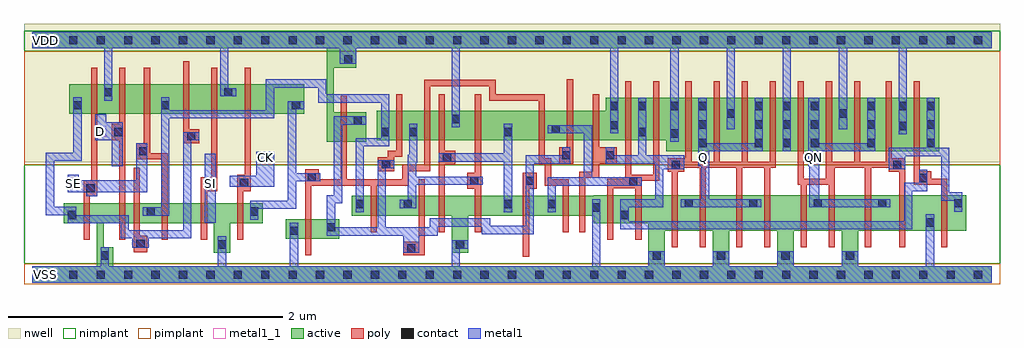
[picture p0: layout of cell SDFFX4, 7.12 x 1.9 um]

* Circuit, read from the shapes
.subckt SDFFX4 CK D Q QN SE SI VDD VSS
M1 VSS SE n1 VSS nfet w=0.145u l=0.045u
M2 n2 D VSS VSS nfet w=0.145u l=0.045u
M3 n3 n1 n2 VSS nfet w=0.145u l=0.045u
M4 n4 SE n3 VSS nfet w=0.145u l=0.045u
M5 VSS SI n4 VSS nfet w=0.145u l=0.045u
M6 n5 CK VSS VSS nfet w=0.145u l=0.045u
M7 n6 n5 VSS VSS nfet w=0.145u l=0.045u
M8 n7 n5 n3 VSS nfet w=0.145u l=0.045u
M9 n8 n6 n7 VSS nfet w=0.145u l=0.045u
M10 VSS n9 n8 VSS nfet w=0.145u l=0.045u
M11 n9 n7 VSS VSS nfet w=0.145u l=0.045u
M12 n10 n6 n9 VSS nfet w=0.145u l=0.045u
M13 n11 n5 n10 VSS nfet w=0.145u l=0.045u
M14 VSS n12 n11 VSS nfet w=0.145u l=0.045u
M15 n12 n10 VSS VSS nfet w=0.205u l=0.045u m=2
M16 Q n12 VSS VSS nfet w=0.26u l=0.045u m=4
M17 QN n13 VSS VSS nfet w=0.26u l=0.045u m=4
M18 n13 n12 VSS VSS nfet w=0.26u l=0.045u
M19 VDD SE n1 VDD pfet w=0.215u l=0.045u
M20 n14 D VDD VDD pfet w=0.215u l=0.045u
M21 n3 SE n14 VDD pfet w=0.215u l=0.045u
M22 n15 n1 n3 VDD pfet w=0.215u l=0.045u
M23 VDD SI n15 VDD pfet w=0.215u l=0.045u
M24 n5 CK VDD VDD pfet w=0.215u l=0.045u
M25 n6 n5 VDD VDD pfet w=0.215u l=0.045u
M26 n7 n6 n3 VDD pfet w=0.215u l=0.045u
M27 n16 n5 n7 VDD pfet w=0.215u l=0.045u
M28 VDD n9 n16 VDD pfet w=0.215u l=0.045u
M29 n9 n7 VDD VDD pfet w=0.215u l=0.045u
M30 n10 n5 n9 VDD pfet w=0.215u l=0.045u
M31 n17 n6 n10 VDD pfet w=0.215u l=0.045u
M32 VDD n12 n17 VDD pfet w=0.215u l=0.045u
M33 n12 n10 VDD VDD pfet w=0.31u l=0.045u m=2
M34 Q n12 VDD VDD pfet w=0.39u l=0.045u m=4
M35 QN n13 VDD VDD pfet w=0.39u l=0.045u m=4
M36 n13 n12 VDD VDD pfet w=0.39u l=0.045u
.ends

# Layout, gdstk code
import gdstk
lib = gdstk.Library(unit=1e-6, precision=5e-10)
def R(c, l, rs):  # rectangles x0, y0, x1, y1
    for r in rs: c.add(gdstk.rectangle(r[:2], r[2:], *l))
def A(c, l, x, y, w, h, nx, ny, dx, dy):  # array of equal rectangles
    R(c, l, [(x+i*dx, y+j*dy, x+i*dx+w, y+j*dy+h) for i in range(nx) for j in range(ny)])
def P(c, l, *ps):  # polygons
    for p in ps: c.add(gdstk.Polygon(p, *l))
active = (1, 0)
nwell = (2, 0)
poly = (3, 0)
nimplant = (4, 0)
pimplant = (5, 0)
contact = (6, 0)
metal1 = (7, 0)
metal1_1 = (7, 1)

sdffx4 = lib.new_cell('SDFFX4')
R(sdffx4, active, [(1.85,0.26,2.24,0.405), (0.27,1.175,1.985,1.39)])
P(sdffx4, active, [(0,1.77),(7,1.77),(7,1.65),(2.365,1.65),(2.365,1.51),(2.2,1.51),(2.2,1.185),(2.435,1.185),(2.435,0.97),(2.15,0.97),(2.15,1.65),(0,1.65)],
  [(4.185,1.29),(6.615,1.29),(6.615,0.9),(4.625,0.9),(4.625,0.98),(2.515,0.98),(2.515,1.195),(4.185,1.195)],
  [(4.095,0.58),(6.815,0.58),(6.815,0.32),(6.025,0.32),(6.025,0.06),(7,0.06),(7,-0.06),(0,-0.06),(0,0.06),(0.47,0.06),(0.47,0.375),(0.23,0.375),(0.23,0.52),(1.68,0.52),(1.68,0.375),(1.445,0.375),(1.445,0.16),(1.325,0.16),(1.325,0.375),(0.52,0.375),(0.52,0.2),(0.59,0.2),(0.59,0.06),(4.495,0.06),(4.495,0.32),(4.615,0.32),(4.615,0.06),(4.965,0.06),(4.965,0.32),(5.085,0.32),(5.085,0.06),(5.435,0.06),(5.435,0.32),(5.555,0.32),(5.555,0.06),(5.905,0.06),(5.905,0.32),(4.495,0.32),(4.495,0.375),(4.095,0.375),(4.095,0.43),(3.18,0.43),(3.18,0.16),(3.06,0.16),(3.06,0.43),(2.33,0.43),(2.33,0.575),(4.095,0.575)])
R(sdffx4, nwell, [(-0.06,0.82,7.06,1.83)])
P(sdffx4, poly, [(0.43,1.51),(0.475,1.51),(0.475,0.57),(0.42,0.57),(0.42,0.255),(0.375,0.255),(0.375,0.69),(0.43,0.69)],
  [(0.635,1.51),(0.68,1.51),(0.68,0.255),(0.635,0.255),(0.635,0.98),(0.58,0.98),(0.58,1.1),(0.635,1.1)],
  [(0.815,1.51),(0.86,1.51),(0.86,0.885),(0.99,0.885),(0.99,0.255),(0.945,0.255),(0.945,0.84),(0.76,0.84),(0.76,0.96),(0.815,0.96)],
  [(1.1,1.555),(1.145,1.555),(1.145,1.06),(1.22,1.06),(1.22,0.96),(1.1,0.96)],
  [(1.305,1.51),(1.35,1.51),(1.35,0.61),(1.275,0.61),(1.275,0.255),(1.23,0.255),(1.23,0.71),(1.305,0.71)],
  [(1.55,1.51),(1.595,1.51),(1.595,0.61),(1.54,0.61),(1.54,0.255),(1.495,0.255),(1.495,0.73),(1.55,0.73)],
  [(2.86,1.42),(3.38,1.42),(3.38,1.315),(3.74,1.315),(3.74,0.85),(3.785,0.85),(3.785,0.695),(3.915,0.695),(3.915,0.31),(3.87,0.31),(3.87,0.65),(3.74,0.65),(3.74,0.805),(3.695,0.805),(3.695,1.27),(3.335,1.27),(3.335,1.375),(2.905,1.375),(2.905,0.755),(2.745,0.755),(2.745,0.65),(2.515,0.65),(2.515,0.31),(2.47,0.31),(2.47,0.65),(2.035,0.65),(2.035,0.14),(1.99,0.14),(1.99,0.77),(2.09,0.77),(2.09,0.695),(2.25,0.695),(2.25,1.305),(2.295,1.305),(2.295,0.695),(2.7,0.695),(2.7,0.8),(2.86,0.8)],
  [(2.655,1.315),(2.7,1.315),(2.7,0.86),(2.64,0.86),(2.64,0.755),(2.52,0.755),(2.52,0.855),(2.595,0.855),(2.595,0.905),(2.655,0.905)],
  [(2.965,1.315),(3.01,1.315),(3.01,0.905),(3.085,0.905),(3.085,0.805),(3.01,0.805),(3.01,0.31),(2.965,0.31)],
  [(3.23,1.315),(3.275,1.315),(3.275,0.31),(3.23,0.31),(3.23,0.625),(3.175,0.625),(3.175,0.745),(3.23,0.745)],
  [(3.9,1.425),(3.945,1.425),(3.945,0.81),(3.845,0.81),(3.845,0.93),(3.9,0.93)],
  [(4.09,1.315),(4.135,1.315),(4.135,0.93),(4.265,0.93),(4.265,0.81),(4.135,0.81),(4.135,0.705),(4.035,0.705),(4.035,0.31),(3.99,0.31),(3.99,0.75),(4.09,0.75)],
  [(4.325,1.41),(4.37,1.41),(4.37,0.73),(4.53,0.73),(4.53,1.41),(4.575,1.41),(4.575,0.685),(4.445,0.685),(4.445,0.255),(4.4,0.255),(4.4,0.63),(4.24,0.63),(4.24,0.255),(4.195,0.255),(4.195,0.7),(4.325,0.7)],
  [(4.765,1.41),(4.81,1.41),(4.81,0.825),(4.97,0.825),(4.97,1.41),(5.015,1.41),(5.015,0.825),(5.175,0.825),(5.175,1.41),(5.22,1.41),(5.22,0.825),(5.38,0.825),(5.38,1.41),(5.425,1.41),(5.425,0.78),(5.385,0.78),(5.385,0.2),(5.34,0.2),(5.34,0.78),(5.18,0.78),(5.18,0.2),(5.135,0.2),(5.135,0.78),(4.915,0.78),(4.915,0.2),(4.87,0.2),(4.87,0.78),(4.755,0.78),(4.755,0.75),(4.71,0.75),(4.71,0.2),(4.665,0.2),(4.665,0.75),(4.635,0.75),(4.635,0.85),(4.765,0.85)],
  [(5.585,1.41),(5.63,1.41),(5.63,0.7),(5.79,0.7),(5.79,1.41),(5.835,1.41),(5.835,0.825),(5.995,0.825),(5.995,1.41),(6.04,1.41),(6.04,0.825),(6.225,0.825),(6.225,1.41),(6.27,1.41),(6.27,0.85),(6.37,0.85),(6.37,0.2),(6.325,0.2),(6.325,0.75),(6.25,0.75),(6.25,0.78),(6.12,0.78),(6.12,0.2),(6.075,0.2),(6.075,0.78),(5.855,0.78),(5.855,0.2),(5.81,0.2),(5.81,0.655),(5.65,0.655),(5.65,0.2),(5.605,0.2),(5.605,0.655),(5.585,0.655)],
  [(6.43,1.41),(6.475,1.41),(6.475,0.755),(6.56,0.755),(6.56,0.7),(6.675,0.7),(6.675,0.2),(6.63,0.2),(6.63,0.655),(6.43,0.655)],
  [(3.58,0.745),(3.68,0.745),(3.68,0.625),(3.625,0.625),(3.625,0.13),(3.58,0.13)],
  [(0.74,0.78),(0.785,0.78),(0.785,0.285),(0.84,0.285),(0.84,0.165),(0.74,0.165)],
  [(2.82,0.695),(2.865,0.695),(2.865,0.14),(2.705,0.14),(2.705,0.24),(2.82,0.24)])
R(sdffx4, nimplant, [(-0.06,0.08,7.06,0.8), (-0.06,1.63,7.06,1.78)])
R(sdffx4, pimplant, [(-0.06,-0.07,7.06,0.08), (-0.06,0.8,7.06,1.63)])
A(sdffx4, contact, 0.07, -0.03, 0.06, 0.06, 35, 2, 0.2, 1.71)
A(sdffx4, contact, 4.525, 0.11, 0.06, 0.06, 4, 1, 0.47, 0)
A(sdffx4, contact, 4.76, 0.49, 0.06, 0.06, 4, 1, 0.47, 0)
A(sdffx4, contact, 4.86, 0.93, 0.06, 0.06, 1, 3, 0, 0.135)
A(sdffx4, contact, 5.27, 0.93, 0.06, 0.06, 3, 3, 0.205, 0.135)
A(sdffx4, contact, 6.09, 0.93, 0.06, 0.06, 1, 3, 0, 0.135)
A(sdffx4, contact, 6.525, 0.93, 0.06, 0.06, 1, 3, 0, 0.135)
R(sdffx4, contact, [(0.5,0.11,0.56,0.17), (2.735,0.16,2.795,0.22), (1.355,0.19,1.415,0.25), (3.09,0.19,3.15,0.25), (0.76,0.195,0.82,0.255), (1.88,0.29,1.94,0.35), (2.15,0.315,2.21,0.375), (6.52,0.35,6.58,0.41), (0.26,0.405,0.32,0.465), (4.29,0.405,4.35,0.465), (0.835,0.43,0.895,0.49), (1.59,0.43,1.65,0.49), (4.085,0.46,4.145,0.52), (2.36,0.485,2.42,0.545), (2.71,0.485,2.77,0.545), (3.44,0.485,3.5,0.545), (3.76,0.485,3.82,0.545), (6.725,0.49,6.785,0.55), (0.395,0.6,0.455,0.66), (1.26,0.63,1.32,0.69), (1.515,0.64,1.575,0.7), (4.355,0.65,4.415,0.71), (3.195,0.655,3.255,0.715), (3.6,0.655,3.66,0.715), (6.47,0.675,6.53,0.735), (2.01,0.68,2.07,0.74), (4.665,0.77,4.725,0.83), (6.28,0.77,6.34,0.83), (2.55,0.775,2.61,0.835), (2.995,0.825,3.055,0.885), (3.865,0.84,3.925,0.9), (4.185,0.84,4.245,0.9), (0.78,0.87,0.84,0.93), (1.13,0.98,1.19,1.04), (4.655,1,4.715,1.06), (0.6,1.01,0.66,1.07), (2.545,1.01,2.605,1.07), (2.75,1.01,2.81,1.07), (3.44,1.01,3.5,1.07), (4.42,1.01,4.48,1.07), (3.79,1.03,3.85,1.09), (6.32,1.055,6.38,1.115), (4.215,1.06,4.275,1.12), (2.345,1.095,2.405,1.155), (3.06,1.105,3.12,1.165), (5.065,1.145,5.125,1.205), (5.885,1.145,5.945,1.205), (4.215,1.2,4.275,1.26), (4.42,1.2,4.48,1.26), (4.655,1.2,4.715,1.26), (6.32,1.2,6.38,1.26), (0.3,1.205,0.36,1.265), (0.94,1.205,1,1.265), (1.895,1.205,1.955,1.265), (0.525,1.3,0.585,1.36), (1.4,1.3,1.46,1.36), (2.275,1.54,2.335,1.6)])
R(sdffx4, metal1, [(1.26,0.38,1.34,0.88)])
P(sdffx4, metal1, [(0,1.77),(7,1.77),(7,1.65),(6.38,1.65),(6.38,1.025),(6.32,1.025),(6.32,1.65),(5.945,1.65),(5.945,1.06),(5.885,1.06),(5.885,1.65),(5.535,1.65),(5.535,0.9),(5.475,0.9),(5.475,1.65),(5.125,1.65),(5.125,1.06),(5.065,1.06),(5.065,1.65),(4.715,1.65),(4.715,0.97),(4.655,0.97),(4.655,1.65),(4.275,1.65),(4.275,1.03),(4.215,1.03),(4.215,1.65),(3.12,1.65),(3.12,1.075),(3.06,1.075),(3.06,1.65),(2.365,1.65),(2.365,1.54),(2.245,1.54),(2.245,1.65),(1.43,1.65),(1.43,1.36),(1.49,1.36),(1.49,1.3),(1.37,1.3),(1.37,1.65),(0.585,1.65),(0.585,1.27),(0.525,1.27),(0.525,1.65),(0,1.65)],
  [(0.3,1.295),(0.36,1.295),(0.36,0.83),(0.16,0.83),(0.16,0.495),(0.32,0.495),(0.32,0.435),(0.705,0.435),(0.705,0.325),(1.1,0.325),(1.1,1.04),(1.22,1.04),(1.22,0.98),(1.16,0.98),(1.16,0.265),(0.85,0.265),(0.85,0.195),(0.73,0.195),(0.73,0.265),(0.645,0.265),(0.645,0.375),(0.26,0.375),(0.26,0.435),(0.1,0.435),(0.1,0.89),(0.3,0.89)],
  [(1.705,1.425),(2.145,1.425),(2.145,1.315),(2.605,1.315),(2.605,0.935),(2.42,0.935),(2.42,0.455),(2.36,0.455),(2.36,0.995),(2.545,0.995),(2.545,1.255),(2.085,1.255),(2.085,1.365),(1.765,1.365),(1.765,1.14),(1,1.14),(1,0.43),(0.805,0.43),(0.805,0.49),(0.94,0.49),(0.94,1.295),(1,1.295),(1,1.2),(1.705,1.2)],
  [(1.865,1.265),(1.985,1.265),(1.985,1.205),(1.925,1.205),(1.925,0.74),(2.1,0.74),(2.1,0.68),(1.925,0.68),(1.925,0.48),(1.65,0.48),(1.65,0.4),(1.59,0.4),(1.59,0.54),(1.865,0.54)],
  [(0.46,1.17),(0.54,1.17),(0.54,1.11),(0.66,1.11),(0.66,0.79),(0.58,0.79),(0.58,0.98),(0.46,0.98)],
  [(0.26,0.73),(0.34,0.73),(0.34,0.69),(0.76,0.69),(0.76,0.96),(0.84,0.96),(0.84,0.6),(0.475,0.6),(0.475,0.57),(0.395,0.57),(0.395,0.6),(0.26,0.6)],
  [(1.635,0.895),(1.765,0.895),(1.765,0.64),(1.44,0.64),(1.44,0.72),(1.635,0.72)],
  [(2.2,1.155),(2.435,1.155),(2.435,1.095),(2.26,1.095),(2.26,0.52),(2.21,0.52),(2.21,0.345),(2.52,0.345),(2.52,0.835),(2.64,0.835),(2.64,0.775),(2.58,0.775),(2.58,0.345),(2.9,0.345),(2.9,0.41),(3.34,0.41),(3.34,0.355),(3.6,0.355),(3.6,0.87),(3.865,0.87),(3.865,0.93),(3.925,0.93),(3.925,0.81),(3.66,0.81),(3.66,0.295),(3.28,0.295),(3.28,0.35),(2.96,0.35),(2.96,0.285),(2.825,0.285),(2.825,0.16),(2.705,0.16),(2.705,0.285),(2.15,0.285),(2.15,0.58),(2.2,0.58)],
  [(0.5,0.2),(0.56,0.2),(0.56,0.06),(1.355,0.06),(1.355,0.28),(1.415,0.28),(1.415,0.06),(1.88,0.06),(1.88,0.38),(1.94,0.38),(1.94,0.06),(3.06,0.06),(3.06,0.25),(3.18,0.25),(3.18,0.19),(3.12,0.19),(3.12,0.06),(4.085,0.06),(4.085,0.55),(4.145,0.55),(4.145,0.06),(4.495,0.06),(4.495,0.17),(4.615,0.17),(4.615,0.06),(4.965,0.06),(4.965,0.17),(5.085,0.17),(5.085,0.06),(5.435,0.06),(5.435,0.17),(5.555,0.17),(5.555,0.06),(5.905,0.06),(5.905,0.17),(6.025,0.17),(6.025,0.06),(6.52,0.06),(6.52,0.44),(6.58,0.44),(6.58,0.06),(7,0.06),(7,-0.06),(0,-0.06),(0,0.06),(0.5,0.06)],
  [(2.75,1.1),(2.81,1.1),(2.81,0.815),(2.8,0.815),(2.8,0.715),(3.285,0.715),(3.285,0.655),(2.8,0.655),(2.8,0.485),(2.68,0.485),(2.68,0.545),(2.74,0.545),(2.74,0.875),(2.75,0.875)],
  [(3.44,1.1),(3.5,1.1),(3.5,0.455),(3.44,0.455),(3.44,0.825),(2.965,0.825),(2.965,0.885),(3.44,0.885)],
  [(3.76,1.09),(4.085,1.09),(4.085,0.71),(4.445,0.71),(4.445,0.65),(3.82,0.65),(3.82,0.455),(3.76,0.455),(3.76,0.71),(4.025,0.71),(4.025,1.03),(3.76,1.03)],
  [(4.185,0.93),(4.245,0.93),(4.245,0.87),(4.42,0.87),(4.42,1.29),(4.48,1.29),(4.48,0.87),(4.755,0.87),(4.755,0.77),(4.605,0.77),(4.605,0.49),(4.35,0.49),(4.35,0.39),(6.36,0.39),(6.36,0.67),(6.47,0.67),(6.47,0.765),(6.53,0.765),(6.53,0.61),(6.42,0.61),(6.42,0.33),(4.29,0.33),(4.29,0.55),(4.545,0.55),(4.545,0.81),(4.185,0.81)],
  [(4.86,1.29),(4.92,1.29),(4.92,0.96),(5.27,0.96),(5.27,1.29),(5.33,1.29),(5.33,0.9),(4.94,0.9),(4.94,0.55),(5.32,0.55),(5.32,0.49),(4.73,0.49),(4.73,0.55),(4.88,0.55),(4.88,0.79),(4.86,0.79)],
  [(5.66,1.29),(5.74,1.29),(5.74,0.96),(6.09,0.96),(6.09,1.29),(6.15,1.29),(6.15,0.9),(5.74,0.9),(5.74,0.55),(6.26,0.55),(6.26,0.49),(5.67,0.49),(5.67,0.79),(5.66,0.79)],
  [(6.525,1.29),(6.585,1.29),(6.585,0.925),(6.69,0.925),(6.69,0.6),(6.785,0.6),(6.785,0.46),(6.725,0.46),(6.725,0.54),(6.63,0.54),(6.63,0.865),(6.37,0.865),(6.37,0.77),(6.25,0.77),(6.25,0.925),(6.525,0.925)])
R(sdffx4, metal1_1, [(0.06,-0.04,0.14,0.04), (0.26,0.625,0.34,0.705), (1.26,0.625,1.34,0.705), (1.66,0.815,1.74,0.895), (4.86,0.815,4.94,0.895), (5.66,0.815,5.74,0.895), (0.46,1.005,0.54,1.085), (0.06,1.67,0.14,1.75)])
sdffx4.add(gdstk.Label('QN', (5.7,0.855), layer=7, texttype=1))
sdffx4.add(gdstk.Label('Q', (4.9,0.855), layer=7, texttype=1))
sdffx4.add(gdstk.Label('CK', (1.7,0.855), layer=7, texttype=1))
sdffx4.add(gdstk.Label('SI', (1.3,0.665), layer=7, texttype=1))
sdffx4.add(gdstk.Label('D', (0.5,1.045), layer=7, texttype=1))
sdffx4.add(gdstk.Label('SE', (0.3,0.665), layer=7, texttype=1))
sdffx4.add(gdstk.Label('VDD', (0.1,1.71), layer=7, texttype=1))
sdffx4.add(gdstk.Label('VSS', (0.1,0), layer=7, texttype=1))
sdffx4.add(gdstk.Label('SDFFX4', (0,0), layer=63, texttype=0))

lib.write_gds('SDFFX4.gds')
